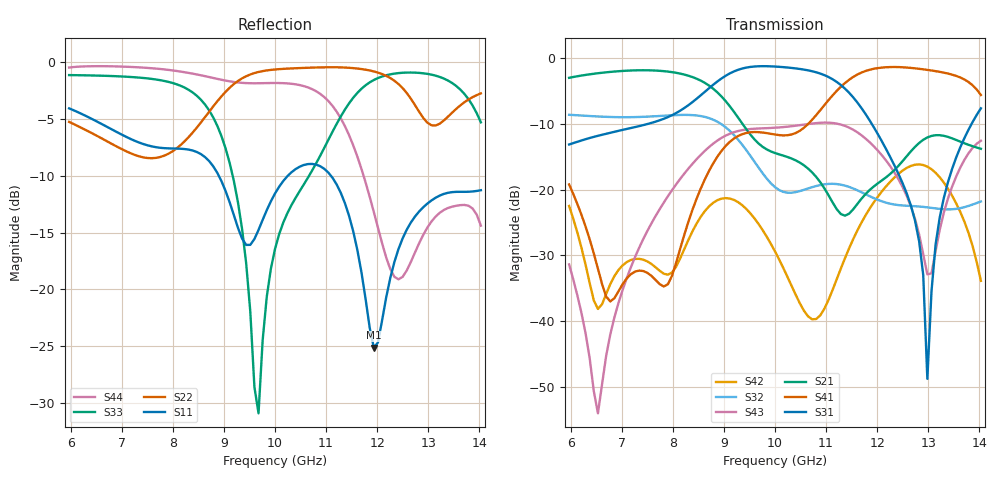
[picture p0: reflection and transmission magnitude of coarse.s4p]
! yapnr rf: filterbank3-x7x10x13, binary design on the optimization grid
! spec sha256 13de688406c8ea8aa5a2983c7d9dfbef6bc7c31cd2b218bfb1531cd97a05cd76
! renormalized to 50 ohm, e^(+jwt) convention
# GHz S RI R 50
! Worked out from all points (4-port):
!   101 points, 5.97 GHz to 14.03 GHz, reference 50 ohm
!   strongest paths, dB at 5.97 GHz, 7.985 GHz, 10 GHz, 12.02 GHz, 14.03 GHz:
!     S31: -13.2, -8.7, -1.4, -11.6, -7.7
!     S41: -19.2, -33.1, -11.7, -1.6, -5.7
!     S21: -3.1, -2.2, -14.5, -19.1, -13.8
!     S43: -31.4, -20.1, -10.6, -14.1, -12.6
!     S32: -8.7, -8.7, -19.6, -21.6, -21.8
!     S42: -22.5, -32.6, -29.4, -21.1, -33.9
!   lowest |S11| = -25.1 dB at 11.93 GHz (marker M1), VSWR 1.12, Z = 46 - j3.47 ohm
!   |S11| at or under -10 dB: 8.9 GHz to 10.25 GHz (1.35 GHz wide, 14.1 % of centre); 11.1 GHz to end of sweep
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5.97  0.5387 -0.3211  -0.0282 0.7003  -0.1869 0.1147  0.088 -0.0638
      -0.0265 0.7023  0.3862 0.3868  0.2344 0.2927  -0.0587 0.0376
      -0.1883 0.1127  0.231 0.2871  -0.1676 -0.8629  -0.00526 -0.031
      0.0871 -0.0659  -0.0661 0.0355  -0.00967 -0.0252  -0.9004 0.3005
6.5342  0.288 -0.4637  0.4163 0.6362  -0.1643 0.195  0.02 -0.0166
        0.4204 0.6349  0.4715 0.0227  0.3495 0.102  0.0186 0.000931
        -0.1677 0.1926  0.344 0.099  -0.4165 -0.7688  -0.0006 -0.0121
        0.018 -0.0175  0.0113 0.00518  -0.00029 -0.00199  -0.4282 0.8618
7.9044  -0.1718 -0.381  0.6189 -0.4855  0.0199 0.3455  0.0063 0.0202
        0.6128 -0.4884  -0.2179 -0.3291  0.05 -0.3589  -0.0208 -0.0221
        0.0134 0.3539  0.0438 -0.3615  -0.7853 -0.2408  -0.1012 -0.00927
        0.0054 0.0184  -0.0128 -0.0186  -0.0884 -0.0106  0.9271 0.0121
9.6776  -0.1808 -0.0255  -0.1992 -0.0833  0.8068 -0.2553  0.2728 -0.0361
        -0.2067 -0.0848  0.1186 0.8994  0.0583 0.1307  0.0194 0.0497
        0.8199 -0.2602  0.0636 0.1323  0.0252 -0.0132  0.2876 -0.0821
        0.2694 -0.0398  0.0279 0.0472  0.277 -0.0864  -0.7983 0.133
11.9344  -0.0405 -0.0377  -0.1057 -0.0213  -0.2847 0.0913  -0.6426 -0.5298
         -0.102 -0.027  0.5249 -0.7462  -0.0432 0.0442  -0.067 0.0448
         -0.2816 0.0928  -0.0671 0.0539  -0.5949 -0.5879  -0.0739 0.1934
         -0.6323 -0.5269  -0.0598 0.0531  -0.0404 0.2086  0.2069 0.072
12.9822  0.2355 0.0383  -0.2154 0.126  -0.00123 0.0172  -0.4966 0.6488
         -0.2109 0.1308  -0.4796 0.2534  0.0548 -7.45e-05  0.1474 -0.0383
         -0.000553 0.00362  0.072 0.0132  -0.8894 0.0317  -0.0201 0.0242
         -0.4971 0.6361  0.1417 -0.0464  0.0109 0.0199  0.0387 0.1829
14.03  -0.1345 -0.2379  0.0582 0.1949  -0.2437 -0.3277  0.4626 0.2391
       0.0538 0.1963  0.7282 -0.0525  -0.0175 -0.0938  -0.00589 -0.0242
       -0.2453 -0.3321  -0.0318 -0.0747  -0.1594 0.5203  0.1275 0.1906
       0.4685 0.2276  -0.011 -0.0171  0.1468 0.1824  0.1403 0.1293
